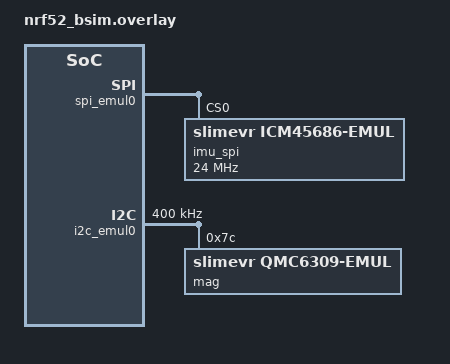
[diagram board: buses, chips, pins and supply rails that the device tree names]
/* Simulated tracker (BabbleSim, tools/bsim): emulated ICM-45686 on SPI, QMC6309 on I2C. */
/ {
	chosen {
		zephyr,code-partition = &slot0_partition;
	};

	spi_emul0: spi@100 {
		compatible = "zephyr,spi-emul-controller";
		reg = <0x100 4>;
		#address-cells = <1>;
		#size-cells = <0>;
		status = "okay";

		imu_spi: imu@0 {
			compatible = "slimevr,icm45686-emul";
			reg = <0>;
			spi-max-frequency = <24000000>;
		};
	};

	i2c_emul0: i2c@200 {
		compatible = "zephyr,i2c-emul-controller";
		reg = <0x200 4>;
		#address-cells = <1>;
		#size-cells = <0>;
		clock-frequency = <400000>;
		status = "okay";

		mag: mag@7c {
			compatible = "slimevr,qmc6309-emul";
			reg = <0x7c>;
		};
	};
};

&flash0 {
	/delete-node/ partitions;
	partitions {
		compatible = "fixed-partitions";
		#address-cells = <1>;
		#size-cells = <1>;

		slot0_partition: partition@1000 {
			label = "application";
			reg = <0x00001000 0x00070000>;
		};
		storage_partition: partition@71000 {
			label = "storage";
			reg = <0x00071000 0x00006000>;
		};
	};
};
